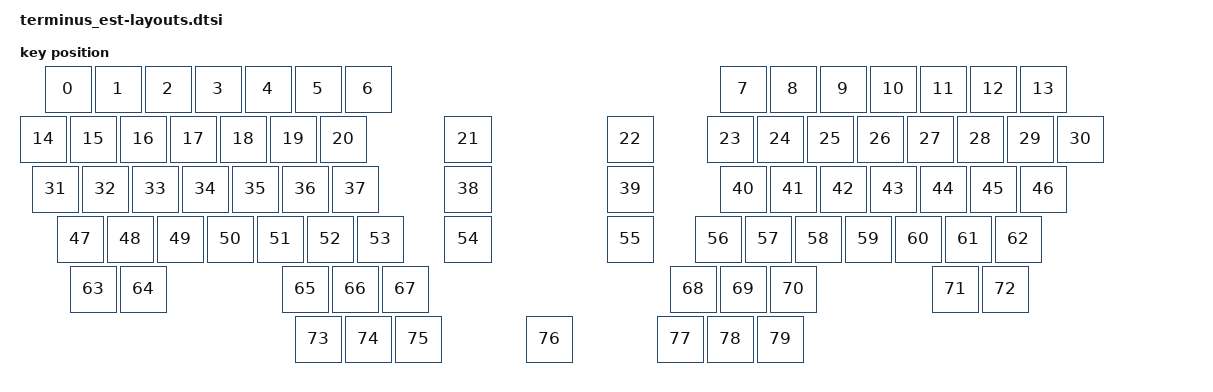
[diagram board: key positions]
/*
 * Copyright (c) 2024 The ZMK Contributors
 *
 * SPDX-License-Identifier: MIT
 */

#include <physical_layouts.dtsi>

/ {
	physical_layout0: physical_layout_0 {
		compatible = "zmk,physical-layout";
		display-name = "Default";

		kscan = <&kscan0>;
		transform = <&default_transform>;

		keys  //                     w   h    x    y     rot    rx    ry
			= <&key_physical_attrs 100 100   50    0       0     0     0>
			, <&key_physical_attrs 100 100  150    0       0     0     0>
			, <&key_physical_attrs 100 100  250    0       0     0     0>
			, <&key_physical_attrs 100 100  350    0       0     0     0>
			, <&key_physical_attrs 100 100  450    0       0     0     0>
			, <&key_physical_attrs 100 100  550    0       0     0     0>
			, <&key_physical_attrs 100 100  650    0       0     0     0>
			, <&key_physical_attrs 100 100 1400    0       0     0     0>
			, <&key_physical_attrs 100 100 1500    0       0     0     0>
			, <&key_physical_attrs 100 100 1600    0       0     0     0>
			, <&key_physical_attrs 100 100 1700    0       0     0     0>
			, <&key_physical_attrs 100 100 1800    0       0     0     0>
			, <&key_physical_attrs 100 100 1900    0       0     0     0>
			, <&key_physical_attrs 100 100 2000    0       0     0     0>
			, <&key_physical_attrs 100 100    0  100       0     0     0>
			, <&key_physical_attrs 100 100  100  100       0     0     0>
			, <&key_physical_attrs 100 100  200  100       0     0     0>
			, <&key_physical_attrs 100 100  300  100       0     0     0>
			, <&key_physical_attrs 100 100  400  100       0     0     0>
			, <&key_physical_attrs 100 100  500  100       0     0     0>
			, <&key_physical_attrs 100 100  600  100       0     0     0>
			, <&key_physical_attrs 100 100  850  100       0     0     0>
			, <&key_physical_attrs 100 100 1175  100       0     0     0>
			, <&key_physical_attrs 100 100 1375  100       0     0     0>
			, <&key_physical_attrs 100 100 1475  100       0     0     0>
			, <&key_physical_attrs 100 100 1575  100       0     0     0>
			, <&key_physical_attrs 100 100 1675  100       0     0     0>
			, <&key_physical_attrs 100 100 1775  100       0     0     0>
			, <&key_physical_attrs 100 100 1875  100       0     0     0>
			, <&key_physical_attrs 100 100 1975  100       0     0     0>
			, <&key_physical_attrs 100 100 2075  100       0     0     0>
			, <&key_physical_attrs 100 100   25  200       0     0     0>
			, <&key_physical_attrs 100 100  125  200       0     0     0>
			, <&key_physical_attrs 100 100  225  200       0     0     0>
			, <&key_physical_attrs 100 100  325  200       0     0     0>
			, <&key_physical_attrs 100 100  425  200       0     0     0>
			, <&key_physical_attrs 100 100  525  200       0     0     0>
			, <&key_physical_attrs 100 100  625  200       0     0     0>
			, <&key_physical_attrs 100 100  850  200       0     0     0>
			, <&key_physical_attrs 100 100 1175  200       0     0     0>
			, <&key_physical_attrs 100 100 1400  200       0     0     0>
			, <&key_physical_attrs 100 100 1500  200       0     0     0>
			, <&key_physical_attrs 100 100 1600  200       0     0     0>
			, <&key_physical_attrs 100 100 1700  200       0     0     0>
			, <&key_physical_attrs 100 100 1800  200       0     0     0>
			, <&key_physical_attrs 100 100 1900  200       0     0     0>
			, <&key_physical_attrs 100 100 2000  200       0     0     0>
			, <&key_physical_attrs 100 100   75  300       0     0     0>
			, <&key_physical_attrs 100 100  175  300       0     0     0>
			, <&key_physical_attrs 100 100  275  300       0     0     0>
			, <&key_physical_attrs 100 100  375  300       0     0     0>
			, <&key_physical_attrs 100 100  475  300       0     0     0>
			, <&key_physical_attrs 100 100  575  300       0     0     0>
			, <&key_physical_attrs 100 100  675  300       0     0     0>
			, <&key_physical_attrs 100 100  850  300       0     0     0>
			, <&key_physical_attrs 100 100 1175  300       0     0     0>
			, <&key_physical_attrs 100 100 1350  300       0     0     0>
			, <&key_physical_attrs 100 100 1450  300       0     0     0>
			, <&key_physical_attrs 100 100 1550  300       0     0     0>
			, <&key_physical_attrs 100 100 1650  300       0     0     0>
			, <&key_physical_attrs 100 100 1750  300       0     0     0>
			, <&key_physical_attrs 100 100 1850  300       0     0     0>
			, <&key_physical_attrs 100 100 1950  300       0     0     0>
			, <&key_physical_attrs 100 100  100  400       0     0     0>
			, <&key_physical_attrs 100 100  200  400       0     0     0>
			, <&key_physical_attrs 100 100  525  400       0     0     0>
			, <&key_physical_attrs 100 100  625  400       0     0     0>
			, <&key_physical_attrs 100 100  725  400       0     0     0>
			, <&key_physical_attrs 100 100 1300  400       0     0     0>
			, <&key_physical_attrs 100 100 1400  400       0     0     0>
			, <&key_physical_attrs 100 100 1500  400       0     0     0>
			, <&key_physical_attrs 100 100 1825  400       0     0     0>
			, <&key_physical_attrs 100 100 1925  400       0     0     0>
			, <&key_physical_attrs 100 100  550  500       0     0     0>
			, <&key_physical_attrs 100 100  650  500       0     0     0>
			, <&key_physical_attrs 100 100  750  500       0     0     0>
			, <&key_physical_attrs 100 100 1012  500       0     0     0>
			, <&key_physical_attrs 100 100 1275  500       0     0     0>
			, <&key_physical_attrs 100 100 1375  500       0     0     0>
			, <&key_physical_attrs 100 100 1475  500       0     0     0>
			;
	};
};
